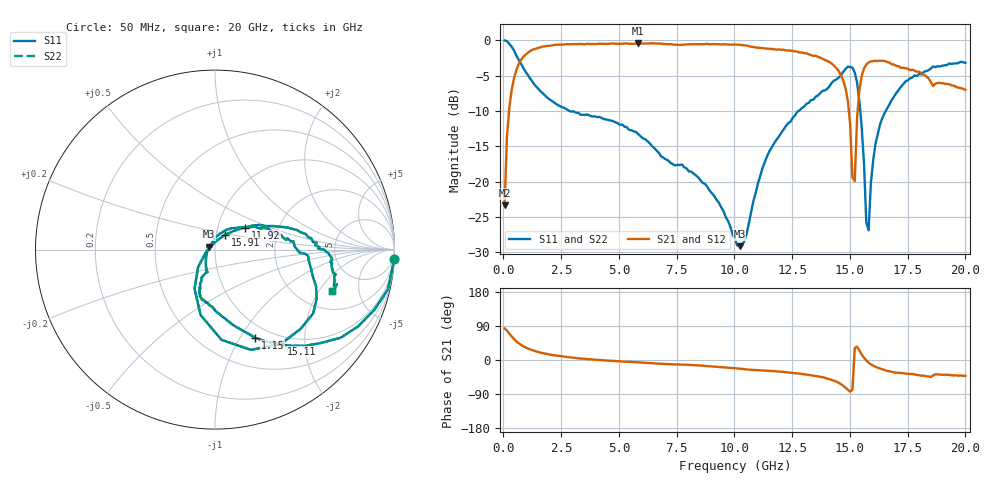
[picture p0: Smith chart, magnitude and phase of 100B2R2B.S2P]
!  American Technical Ceramics  Date:  3/13/98
!  One Norden Lane
!  Huntington Station,  NY.  11746-2102
!  Tel:  (516) 547-5700  Fax:  (516) 547-5748
!  Part Number  100b2r2b
!  Description: Porcelain, High Q, Low ESR
!  Application: Bypass, Coupling, Timing, Feedback
!  Tuning, Impedance Match, Blocking
# GHZ S DB R 50
! Freq  |S11|  S11 Ph  |S21|  S21 Ph  |S12|  S12 Ph  |S22|  S22 Ph
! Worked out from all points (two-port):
!   201 points, 50 MHz to 20 GHz, reference 50 ohm
!   highest |S21| = -0.40 dB at 5.84 GHz (marker M1); lowest = -23.3 dB at 50 MHz (marker M2)
!   |S21| within 3 dB of the highest: 651.6 MHz to 14.26 GHz (13.6 GHz wide, 183 % of centre); 15.72 GHz to 16.91 GHz (1.193 GHz wide, 7.32 % of centre)
!   lowest |S11| = -29.1 dB at 10.22 GHz (marker M3), VSWR 1.07, Z = 46.9 + j1.46 ohm
!   |S11| at or under -10 dB: 2.876 GHz to 12.77 GHz (9.891 GHz wide, 126 % of centre); 15.45 GHz to 16.55 GHz (1.098 GHz wide, 6.86 % of centre)
!   |S22| runs from -29.1 to 0.0 dB; largest |S21 - S12| = 0
!   S11 on the Smith chart (normalised r, x): 50 MHz: -0, -37; 1.15 GHz: 0.84, -1.17; 11.92 GHz: 1.35, +0.35; 15.11 GHz: 0.87, -1.55; 15.91 GHz: 1.10, +0.18; 20 GHz: 2.99, -2.68
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0.05  0.00 -3.1  -23.31 83.2  -23.31 83.2  0.00 -3.1
0.15  -0.10 -12.9  -13.73 77.6  -13.73 77.6  -0.10 -12.9
0.35  -0.87 -28.2  -7.13 62.5  -7.13 62.5  -0.87 -28.2
1.15  -5.34 -65.4  -1.52 28.0  -1.52 28.0  -5.34 -65.4
3.44  -10.51 -99.5  -0.51 3.5  -0.51 3.5  -10.51 -99.5
5.84  -13.27 -111.9  -0.40 -6.1  -0.40 -6.1  -13.27 -111.9
6.73  -15.91 -114.2  -0.43 -9.8  -0.43 -9.8  -15.91 -114.2
10.03  -28.18 178.1  -0.57 -21.8  -0.57 -21.8  -28.18 178.1
10.22  -29.12 153.7  -0.62 -23.0  -0.62 -23.0  -29.12 153.7
11.92  -13.63 35.9  -1.26 -30.4  -1.26 -30.4  -13.63 35.9
13.42  -8.38 10.9  -2.18 -41.5  -2.18 -41.5  -8.38 10.9
14.71  -4.44 -20.1  -5.64 -67.9  -5.64 -67.9  -4.44 -20.1
15.01  -3.74 -42.7  -11.87 -83.7  -11.87 -83.7  -3.74 -42.7
15.11  -3.86 -55.1  -19.38 -78.5  -19.38 -78.5  -3.86 -55.1
15.21  -4.53 -70.2  -19.92 31.5  -19.92 31.5  -4.53 -70.2
15.31  -5.95 -85.9  -10.98 35.1  -10.98 35.1  -5.95 -85.9
15.51  -12.20 -117.6  -5.05 14.3  -5.05 14.3  -12.20 -117.6
15.71  -25.79 -165.4  -3.42 -1.0  -3.42 -1.0  -25.79 -165.4
15.81  -26.88 85.4  -3.12 -7.0  -3.12 -7.0  -26.88 85.4
15.91  -20.12 55.9  -2.97 -11.6  -2.97 -11.6  -20.12 55.9
16.71  -9.06 21.9  -3.13 -29.9  -3.13 -29.9  -9.06 21.9
20  -3.17 -19.5  -6.99 -41.9  -6.99 -41.9  -3.17 -19.5
